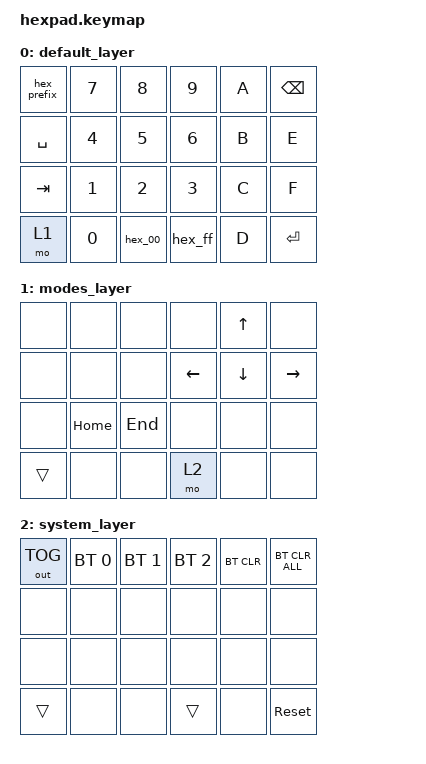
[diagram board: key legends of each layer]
#include <behaviors.dtsi>
#include <dt-bindings/zmk/keys.h>
#include <dt-bindings/zmk/bt.h>
#include <dt-bindings/zmk/outputs.h>

/ {
    macros {
        hex_prefix: hex_prefix {
            compatible = "zmk,behavior-macro";
            #binding-cells = <0>;
            bindings = <&kp N0 &kp N1>;
        };
        hex_00: hex_00 {
            compatible = "zmk,behavior-macro";
            #binding-cells = <0>;
            bindings = <&kp N0 &kp N0>;
        };
        hex_ff: hex_ff {
            compatible = "zmk,behavior-macro";
            #binding-cells = <0>;
            bindings = <&kp F &kp F>;
        };
    };

    keymap {
        compatible = "zmk,keymap";

        default_layer {
            bindings = <
                &hex_prefix   &kp N7  &kp N8   &kp N9   &kp A  &kp BSPC
                &kp SPACE     &kp N4  &kp N5   &kp N6   &kp B  &kp E
                &kp TAB       &kp N1  &kp N2   &kp N3   &kp C  &kp F
                &mo 1         &kp N0  &hex_00  &hex_ff  &kp D  &kp ENTER
            >;
        };

        modes_layer {
            bindings = <
                &none  &none     &none    &none    &kp UP    &none
                &none  &none     &none    &kp LEFT &kp DOWN  &kp RIGHT
                &none  &kp HOME  &kp END  &none    &none     &none
                &trans &none     &none    &mo 2    &none     &none
            >;
        };

        system_layer {
            bindings = <
                &out OUT_TOG  &bt BT_SEL 0  &bt BT_SEL 1  &bt BT_SEL 2  &bt BT_CLR  &bt BT_CLR_ALL
                &none         &none         &none         &none         &none       &none
                &none         &none         &none         &none         &none       &none
                &trans        &none         &none         &trans        &none       &sys_reset
            >;
        };
    };
};
